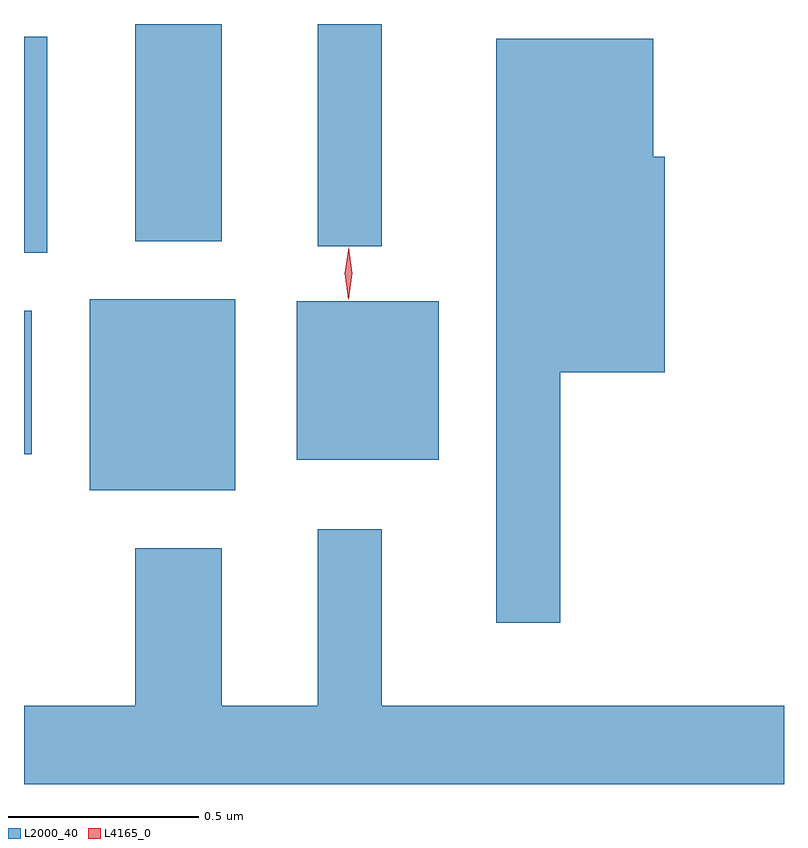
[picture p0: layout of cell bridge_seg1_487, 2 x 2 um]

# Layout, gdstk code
import gdstk
lib = gdstk.Library(unit=1e-6, precision=1e-09)
def R(c, l, rs):  # rectangles x0, y0, x1, y1
    for r in rs: c.add(gdstk.rectangle(r[:2], r[2:], *l))
def P(c, l, *ps):  # polygons
    for p in ps: c.add(gdstk.Polygon(p, *l))
L2000_40 = (2000, 40)
L4165_0 = (4165, 0)

bridge_seg1_487 = lib.new_cell('bridge_seg1_487')
R(bridge_seg1_487, L2000_40, [(232.881,851.571,233.264,852.074), (233.426,851.651,233.799,852.069), (232.708,851.666,232.729,852.044), (232.708,852.196,232.769,852.764), (233.481,852.213,233.649,852.798), (233.001,852.226,233.229,852.798)])
P(bridge_seg1_487, L2000_40, [(234.119,851.881),(234.394,851.881),(234.394,852.449),(234.364,852.449),(234.364,852.759),(233.951,852.759),(233.951,851.223),(234.119,851.223)],
  [(234.708,851.004),(233.649,851.004),(233.649,851.468),(233.481,851.468),(233.481,851.004),(233.229,851.004),(233.229,851.419),(233.001,851.419),(233.001,851.004),(232.708,851.004),(232.708,850.798),(234.708,850.798)])
P(bridge_seg1_487, L4165_0, [(233.562,852.078),(233.562,852.079),(233.552,852.142),(233.562,852.206),(233.562,852.207),(233.563,852.206),(233.572,852.142),(233.563,852.079)],
  [(233.561,852.074),(233.552,852.142),(233.562,852.21),(233.562,852.21),(233.563,852.21),(233.572,852.142),(233.562,852.074),(233.562,852.074)])

lib.write_gds('bridge_seg1_487.gds')
